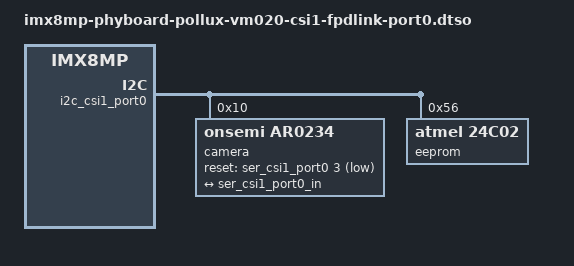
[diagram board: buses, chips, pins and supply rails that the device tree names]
// SPDX-License-Identifier: (GPL-2.0+ OR MIT)
/*
 * Copyright (C) 2023 PHYTEC Messtechnik GmbH
 * Author: Stefan Riedmüller <s.riedmueller@phytec.de>
 */

/dts-v1/;
/plugin/;

#include "imx8mp-phyboard-pollux-csi1-fpdlink-port0.dtsi"
#include <dt-bindings/gpio/gpio.h>

&i2c_csi1_port0 {
	camera@10 {
		#address-cells = <0x1>;
		#size-cells = <0x0>;

		compatible = "onsemi,ar0234";
		reg = <0x10>;
		clocks = <&ser_csi1_port0>;
		clock-names = "ext";
		isp-bus-info = "csi0";

		assigned-clocks = <&ser_csi1_port0>;
		assigned-clock-rates = <26666666>;

		reset-gpios = <&ser_csi1_port0 3 GPIO_ACTIVE_LOW>;
		onsemi,reset-delay-ms = <100>;

		port@0 {
			reg = <0>;

			vm020_csi1_port0_ep: endpoint {
				remote-endpoint = <&ser_csi1_port0_in>;
				bus-type = <4>; /* MIPI CSI-2 D-PHY */
				link-frequencies = /bits/ 64 <288000000>;
				data-lanes = <1 2 3 4>;
				clock-lanes = <0>;
				clock-noncontinuous = <1>;
			};
		};
	};

	eeprom@56 {
		compatible = "atmel,24c02";
		reg = <0x56>;
		pagesize = <16>;
	};
};

&ser_csi1_port0_in {
	remote-endpoint = <&vm020_csi1_port0_ep>;
	data-lanes = <1 2 3 4>;
};
